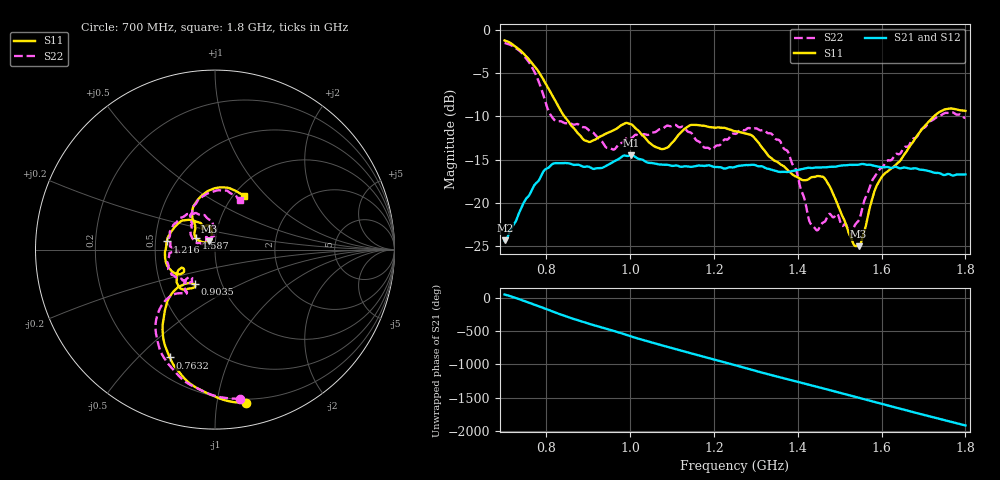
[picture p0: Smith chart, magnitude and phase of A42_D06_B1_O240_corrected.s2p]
! Created with skrf 1.9.0 (http://scikit-rf.org).
# Hz S RI R 50.0
!freq ReS11 ImS11 ReS21 ImS21 ReS12 ImS12 ReS22 ImS22
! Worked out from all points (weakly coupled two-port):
!   1601 points, 700 MHz to 1.8 GHz, reference 50 ohm
!   highest |S21| = -14.49 dB at 1.002 GHz (marker M1); lowest = -24.4 dB at 700.7 MHz (marker M2)
!   lowest |S11| = -25.0 dB at 1.545 GHz (marker M3), VSWR 1.12, Z = 46.8 + j4.35 ohm
!   |S11| at or under -10 dB: 842.7 MHz to 1.725 GHz (882.2 MHz wide, 68.7 % of centre)
!   |S22| runs from -23.8 to -1.5 dB; largest |S21 - S12| = 0.0035
!   S11 on the Smith chart (normalised r, x): 700 MHz: 0.17, -1.21; 763.2 MHz: 0.30, -0.62; 903.5 MHz: 0.74, -0.30; 1.216 GHz: 0.58, +0.06; 1.587 GHz: 0.80, +0.10; 1.8 GHz: 1.12, +0.76
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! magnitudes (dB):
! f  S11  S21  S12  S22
! 700 MHz  -1.2  -24.4  -24.2  -1.5
! 700.7 MHz  -1.2  -24.4  -24.1  -1.5
! 763.2 MHz  -3.7  -18.7  -18.7  -4.1
! 815.5 MHz  -7.7  -15.5  -15.6  -10.2
! 883.6 MHz  -12.4  -15.8  -15.7  -11.2
! 903.5 MHz  -13.0  -15.9  -15.9  -11.7
! 957.8 MHz  -11.7  -15.3  -15.3  -13.8
! 1.002 GHz  -10.9  -14.5  -14.6  -12.5
! 1.067 GHz  -13.7  -15.6  -15.5  -11.6
! 1.144 GHz  -11.0  -15.9  -15.8  -11.9
! 1.216 GHz  -11.3  -15.9  -15.9  -13.2
! 1.25 GHz  -11.7  -15.9  -15.8  -12.0
! 1.357 GHz  -15.5  -16.4  -16.4  -12.8
! 1.395 GHz  -17.0  -16.3  -16.2  -16.1
! 1.434 GHz  -17.0  -16.0  -15.9  -22.6
! 1.467 GHz  -17.4  -15.9  -15.9  -22.0
! 1.526 GHz  -24.0  -15.6  -15.6  -23.8
! 1.545 GHz  -25.0  -15.6  -15.6  -22.1
! 1.587 GHz  -18.2  -15.8  -15.8  -16.8
! 1.617 GHz  -16.3  -15.9  -15.9  -15.1
! 1.732 GHz  -9.7  -16.5  -16.6  -10.1
! 1.8 GHz  -9.4  -16.7  -16.7  -10.2
